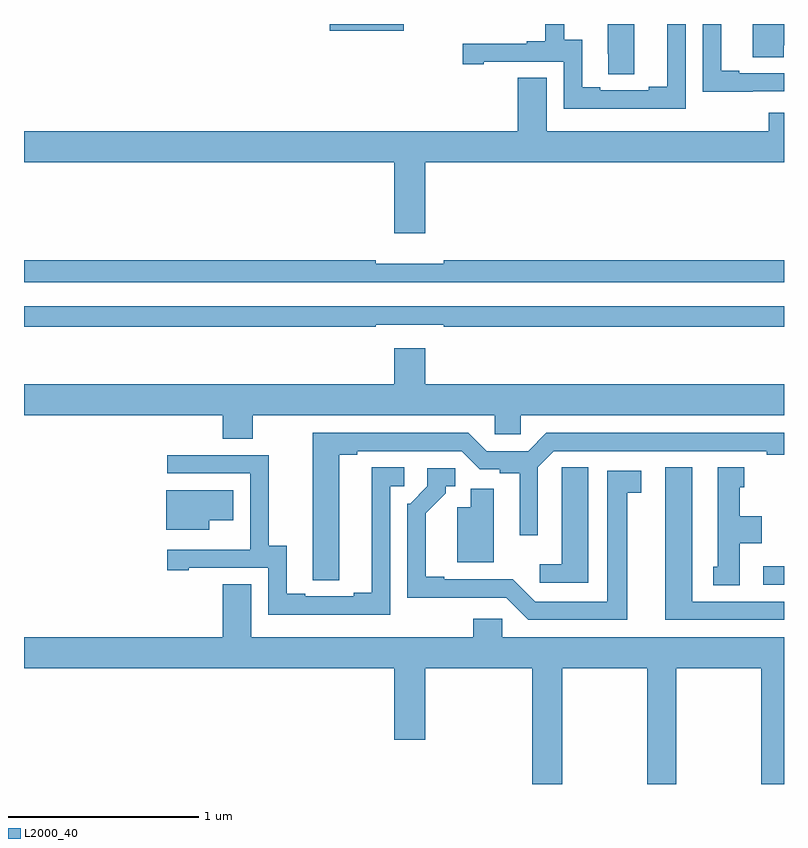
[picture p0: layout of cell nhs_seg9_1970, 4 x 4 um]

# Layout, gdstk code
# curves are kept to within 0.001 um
import gdstk
lib = gdstk.Library(unit=1e-6, precision=1e-09)
def R(c, l, rs):  # rectangles x0, y0, x1, y1
    for r in rs: c.add(gdstk.rectangle(r[:2], r[2:], *l))
def P(c, l, *ps):  # polygons
    for p in ps: c.add(gdstk.Polygon(p, *l))
L2000_40 = (2000, 40)

nhs_seg9_1970 = lib.new_cell('nhs_seg9_1970')
R(nhs_seg9_1970, L2000_40, [(226.89,1175.55,227,1175.646), (224.61,1178.465,224.998,1178.5)])
P(nhs_seg9_1970, L2000_40, [(226.213,1178.5),(226.073,1178.5),(226.073,1178.344),(226.074,1178.344),(226.074,1178.236),(226.213,1178.236)],
  [(226.835,1178.145),(227,1178.145),(227,1178.241),(226.765,1178.241),(226.765,1178.254),(226.669,1178.254),(226.669,1178.5),(226.572,1178.5),(226.572,1178.144),(226.835,1178.144)],
  [(226.482,1178.5),(226.385,1178.5),(226.385,1178.171),(226.289,1178.171),(226.289,1178.151),(226.033,1178.151),(226.033,1178.166),(225.937,1178.166),(225.937,1178.417),(225.843,1178.417),(225.843,1178.5),(225.743,1178.5),(225.743,1178.41),(225.647,1178.41),(225.647,1178.397),(225.309,1178.397),(225.309,1178.289),(225.421,1178.289),(225.421,1178.301),(225.84,1178.301),(225.84,1178.055),(226.482,1178.055)],
  [(226.999,1178.387),(227,1178.387),(227,1178.5),(226.835,1178.5),(226.835,1178.326),(226.999,1178.326)],
  [(225.112,1177.772),(227,1177.772),(227,1178.034),(226.919,1178.034),(226.919,1177.936),(225.751,1177.936),(225.751,1178.216),(225.599,1178.216),(225.599,1177.936),(223,1177.936),(223,1177.772),(224.948,1177.772),(224.948,1177.398),(225.112,1177.398)],
  [(227,1177.256),(225.208,1177.256),(225.208,1177.237),(224.852,1177.237),(224.852,1177.256),(223,1177.256),(223,1177.14),(227,1177.14)],
  [(224.852,1176.918),(225.208,1176.918),(225.208,1176.906),(227,1176.906),(227,1177.014),(223,1177.014),(223,1176.906),(224.852,1176.906)],
  [(224.205,1176.44),(225.477,1176.44),(225.477,1176.342),(225.615,1176.342),(225.615,1176.44),(227,1176.44),(227,1176.604),(225.112,1176.604),(225.112,1176.793),(224.948,1176.793),(224.948,1176.604),(223,1176.604),(223,1176.44),(224.045,1176.44),(224.045,1176.316),(224.205,1176.316)],
  [(224.659,1176.232),(224.755,1176.232),(224.755,1176.252),(225.303,1176.252),(225.399,1176.156),(225.504,1176.156),(225.504,1176.136),(225.608,1176.136),(225.608,1175.808),(225.705,1175.808),(225.705,1176.168),(225.789,1176.252),(226.91,1176.252),(226.91,1176.232),(227,1176.232),(227,1176.348),(225.749,1176.348),(225.653,1176.252),(225.435,1176.252),(225.339,1176.348),(224.519,1176.348),(224.52,1175.572),(224.659,1175.572)],
  [(224.928,1176.066),(225.001,1176.066),(225.001,1176.167),(224.831,1176.167),(224.831,1175.507),(224.735,1175.507),(224.735,1175.487),(224.479,1175.487),(224.479,1175.502),(224.383,1175.502),(224.383,1175.753),(224.289,1175.753),(224.289,1176.231),(223.755,1176.231),(223.755,1176.135),(224.19,1176.135),(224.19,1175.734),(224.189,1175.734),(224.189,1175.733),(223.755,1175.733),(223.755,1175.625),(223.867,1175.625),(223.867,1175.637),(224.286,1175.637),(224.286,1175.391),(224.928,1175.391)],
  [(225.97,1176.167),(225.831,1176.167),(225.831,1176.059),(225.83,1176.059),(225.83,1175.656),(225.714,1175.656),(225.714,1175.559),(225.97,1175.559)],
  [(227,1175.46),(226.516,1175.46),(226.516,1176.166),(226.376,1176.166),(226.376,1175.364),(227,1175.364)],
  [(226.768,1175.768),(226.882,1175.768),(226.882,1175.908),(226.768,1175.908),(226.768,1176.063),(226.792,1176.063),(226.792,1176.166),(226.652,1176.166),(226.652,1175.643),(226.628,1175.643),(226.628,1175.545),(226.768,1175.545)],
  [(226.174,1176.034),(226.249,1176.034),(226.249,1176.15),(226.07,1176.15),(226.07,1175.46),(225.69,1175.46),(225.573,1175.577),(225.211,1175.577),(225.211,1175.59),(225.115,1175.59),(225.115,1175.926),(225.22,1176.031),(225.22,1176.066),(225.27,1176.066),(225.27,1176.162),(225.123,1176.162),(225.123,1176.066),(225.033,1175.976),(225.018,1175.976),(225.018,1175.48),(225.537,1175.481),(225.654,1175.364),(226.174,1175.364)],
  [(225.472,1176.054),(225.35,1176.054),(225.35,1175.956),(225.281,1175.956),(225.281,1175.666),(225.472,1175.666)],
  [(223.975,1175.888),(224.101,1175.888),(224.101,1176.046),(223.748,1176.046),(223.748,1175.837),(223.975,1175.837)],
  [(225.834,1175.108),(226.279,1175.108),(226.279,1174.5),(226.434,1174.5),(226.434,1175.108),(226.879,1175.108),(226.879,1174.5),(227,1174.5),(227,1175.272),(225.516,1175.272),(225.516,1175.37),(225.365,1175.37),(225.365,1175.272),(224.197,1175.272),(224.197,1175.552),(224.045,1175.552),(224.045,1175.272),(223,1175.272),(223,1175.108),(224.948,1175.108),(224.948,1174.734),(225.112,1174.734),(225.112,1175.108),(225.674,1175.108),(225.674,1174.5),(225.834,1174.5)])

lib.write_gds('nhs_seg9_1970.gds')
